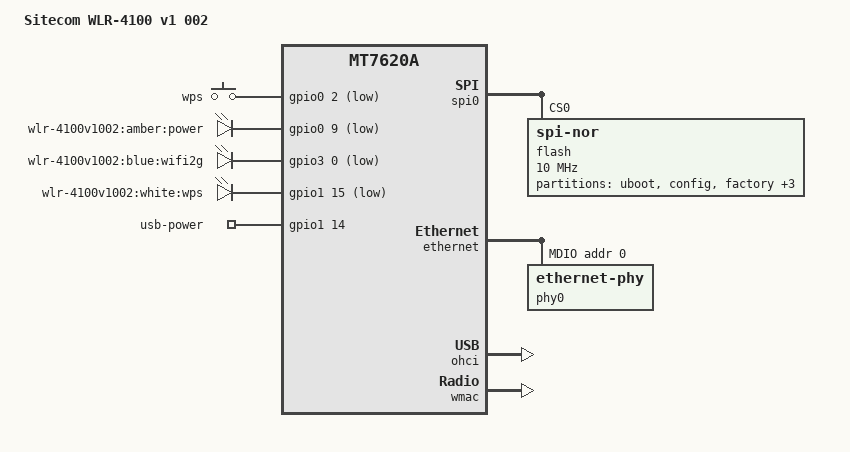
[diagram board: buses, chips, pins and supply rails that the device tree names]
/dts-v1/;

#include "mt7620a.dtsi"

#include <dt-bindings/gpio/gpio.h>
#include <dt-bindings/input/input.h>

/ {
	compatible = "sitecom,wlr-4100v1002", "ralink,mt7620a-soc";
	model = "Sitecom WLR-4100 v1 002";

	aliases {
		led-boot = &led_power;
		led-failsafe = &led_power;
		led-running = &led_power;
		led-upgrade = &led_power;
	};

	chosen {
		bootargs = "console=ttyS0,115200";
	};

	keys {
		compatible = "gpio-keys-polled";
		poll-interval = <20>;

		wps {
			label = "wps";
			gpios = <&gpio0 2 GPIO_ACTIVE_LOW>;
			linux,code = <KEY_WPS_BUTTON>;
		};
	};

	leds {	
		compatible = "gpio-leds";
		
		led_power: power {				
			label = "wlr-4100v1002:amber:power";
			gpios = <&gpio0 9 GPIO_ACTIVE_LOW>;
		};
		
		wifi2g {
			label = "wlr-4100v1002:blue:wifi2g";					
			gpios = <&gpio3 0 GPIO_ACTIVE_LOW>;
		};
		
		led_wps: wps {
			label = "wlr-4100v1002:white:wps";
			gpios = <&gpio1 15 GPIO_ACTIVE_LOW>;
		};		
	};

	gpio_export {			
		compatible = "gpio-export";
		#size-cells = <0>;
		usb-power {
			gpio-export,name = "usb-power";
			gpio-export,output = <1>;
			gpios = <&gpio1 14 GPIO_ACTIVE_HIGH>;
		};
	};
};

&gpio0 {
	status = "okay";
};

&gpio1 {
	status = "okay";
};

&gpio2 {
	status = "okay";
};

&gpio3 {
	status = "okay";
};

&spi0 {
	status = "okay";

	flash@0 {
		compatible = "jedec,spi-nor";
		reg = <0>;
		spi-max-frequency = <10000000>;

		partitions {
			compatible = "fixed-partitions";
			#address-cells = <1>;
			#size-cells = <1>;

			partition@0 {
				label = "uboot";
				reg = <0x0 0x30000>;
				read-only;
			};

			config: partition@30000 {
				label = "config";
				reg = <0x30000 0x10000>;
				read-only;
			};

			factory: partition@40000 {
				label = "factory";
				reg = <0x40000 0x10000>;
				read-only;
			};

			partition@50000 {
				compatible = "denx,uimage";
				label = "firmware";
				reg = <0x50000 0x790000>;
			};

			partition@7e0000 {
				label = "backup";
				reg = <0x7e0000 0x10000>;
				read-only;
			};

			partition@7f0000 {
				label = "storage";
				reg = <0x7f0000 0x10000>;
				read-only;
			};
		};
	};
};


&gsw {
	mediatek,port4 = "gmac";
};

&ethernet {
	status = "okay";
	mtd-mac-address = <&factory 0x4>;
	pinctrl-names = "default";
	pinctrl-0 = <&rgmii1_pins &mdio_pins>;

	port@5 {
		status = "okay";
		phy-mode = "rgmii";
		mediatek,fixed-link = <1000 1 1 1>;
		phy-handle = <&phy0>;
	};

	mdio-bus {
		status = "okay";
		mediatek,mdio-mode = <1>;
		phy0: ethernet-phy@0 {
				reg = <0>;
				phy-mode = "rgmii";
				qca,ar8327-initvals = <
					0x04 0x06200000  // PORT0 PAD MODE CTRL 
					0x08 0x01000000  //  PORT5 PAD MODE CTRL  RX delay EN all ports 0, 5, 6 
					0x7C 0x0000004e  // 	PORT0_STATUS 
					>;
		};
	};
};

&ohci {
	status = "okay";
};

&wmac {
	status = "okay";
	ralink,mtd-eeprom = <&factory 0>;
};

&pinctrl {
	state_default: pinctrl0 {
		gpio {
			ralink,group = "uartf", "i2c", "rgmii2", "wled", "spi refclk", "ephy",  "nd_sd";
			ralink,function = "gpio";
		};
	};
};
